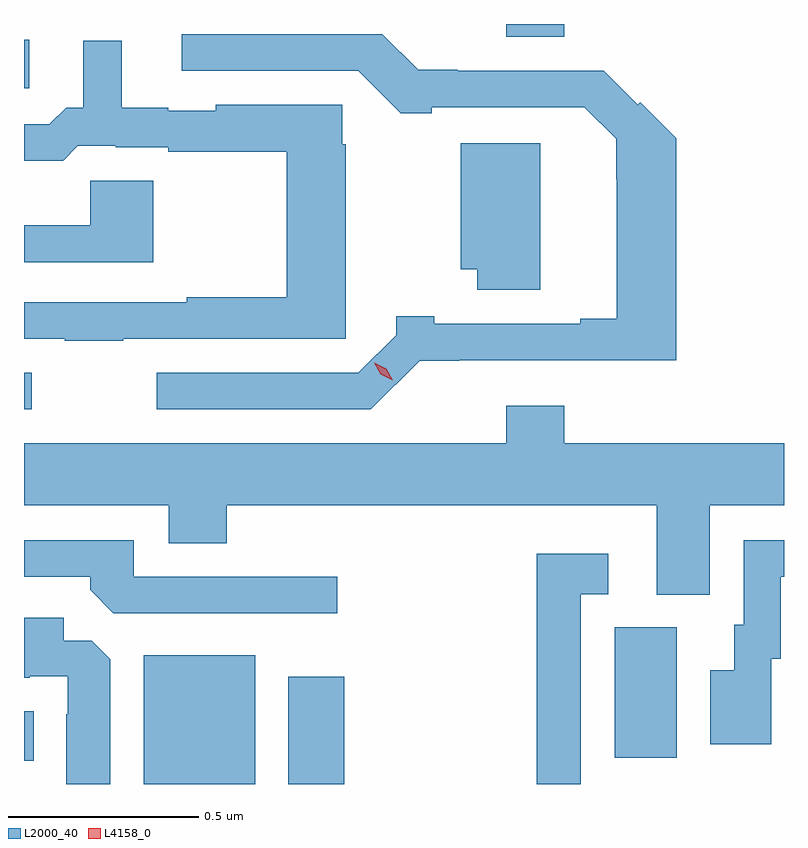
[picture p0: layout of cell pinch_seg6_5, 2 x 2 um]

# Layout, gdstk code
import gdstk
lib = gdstk.Library(unit=1e-6, precision=1e-09)
def R(c, l, rs):  # rectangles x0, y0, x1, y1
    for r in rs: c.add(gdstk.rectangle(r[:2], r[2:], *l))
def P(c, l, *ps):  # polygons
    for p in ps: c.add(gdstk.Polygon(p, *l))
L2000_40 = (2000, 40)
L4158_0 = (4158, 0)

pinch_seg6_5 = lib.new_cell('pinch_seg6_5')
R(pinch_seg6_5, L2000_40, [(1131.335,994.555,1131.628,994.894), (1131.716,994.555,1131.863,994.837), (1131.02,994.616,1131.046,994.747), (1132.574,994.624,1132.738,994.968), (1131.02,995.541,1131.04,995.637), (1131.02,996.386,1131.034,996.513), (1132.289,996.521,1132.442,996.555)])
P(pinch_seg6_5, L2000_40, [(1132.061,995.669),(1132.165,995.669),(1132.165,995.67),(1132.736,995.67),(1132.736,996.255),(1132.642,996.349),(1132.635,996.342),(1132.545,996.432),(1132.162,996.432),(1132.162,996.434),(1132.058,996.434),(1131.963,996.528),(1131.435,996.528),(1131.435,996.432),(1131.9,996.432),(1132.012,996.32),(1132.093,996.32),(1132.093,996.336),(1132.494,996.336),(1132.578,996.253),(1132.578,996.146),(1132.58,996.146),(1132.58,995.779),(1132.484,995.779),(1132.484,995.766),(1132.099,995.766),(1132.099,995.786),(1131.999,995.786),(1131.999,995.736),(1131.9,995.637),(1131.369,995.637),(1131.369,995.541),(1131.933,995.541)],
  [(1131.281,995.727),(1131.867,995.727),(1131.867,996.239),(1131.858,996.239),(1131.858,996.343),(1131.525,996.343),(1131.525,996.327),(1131.399,996.327),(1131.399,996.335),(1131.277,996.335),(1131.277,996.511),(1131.176,996.511),(1131.176,996.335),(1131.131,996.335),(1131.087,996.291),(1131.02,996.291),(1131.02,996.195),(1131.123,996.195),(1131.162,996.234),(1131.262,996.234),(1131.262,996.231),(1131.399,996.231),(1131.399,996.219),(1131.712,996.219),(1131.712,995.836),(1131.448,995.836),(1131.448,995.823),(1131.02,995.823),(1131.02,995.727),(1131.127,995.727),(1131.127,995.722),(1131.281,995.722)],
  [(1132.378,996.241),(1132.169,996.241),(1132.169,995.909),(1132.213,995.909),(1132.213,995.856),(1132.378,995.856)],
  [(1131.36,996.142),(1131.194,996.142),(1131.194,996.025),(1131.02,996.025),(1131.02,995.928),(1131.36,995.928)],
  [(1132.825,995.288),(1133.02,995.288),(1133.02,995.452),(1132.442,995.452),(1132.442,995.551),(1132.289,995.551),(1132.289,995.452),(1131.02,995.452),(1131.02,995.288),(1131.401,995.288),(1131.401,995.189),(1131.554,995.189),(1131.554,995.288),(1132.685,995.288),(1132.685,995.053),(1132.825,995.053)],
  [(1131.844,995.1),(1131.309,995.1),(1131.309,995.196),(1131.02,995.196),(1131.02,995.1),(1131.194,995.1),(1131.194,995.066),(1131.255,995.004),(1131.844,995.004)],
  [(1132.987,994.884),(1133.011,994.884),(1133.011,995.1),(1133.02,995.1),(1133.02,995.196),(1132.914,995.196),(1132.914,994.974),(1132.889,994.974),(1132.889,994.855),(1132.826,994.855),(1132.826,994.659),(1132.987,994.659)],
  [(1132.485,995.055),(1132.558,995.055),(1132.558,995.161),(1132.369,995.161),(1132.369,994.555),(1132.485,994.555)],
  [(1131.247,994.883),(1131.198,994.932),(1131.124,994.932),(1131.124,994.993),(1131.02,994.993),(1131.02,994.835),(1131.035,994.835),(1131.035,994.839),(1131.135,994.839),(1131.135,994.739),(1131.131,994.739),(1131.131,994.555),(1131.247,994.555)])
P(pinch_seg6_5, L4158_0, [(1131.991,995.618),(1131.959,995.633),(1131.942,995.663),(1131.942,995.664),(1131.942,995.664),(1131.973,995.648),(1131.991,995.618),(1131.991,995.618)])

lib.write_gds('pinch_seg6_5.gds')
